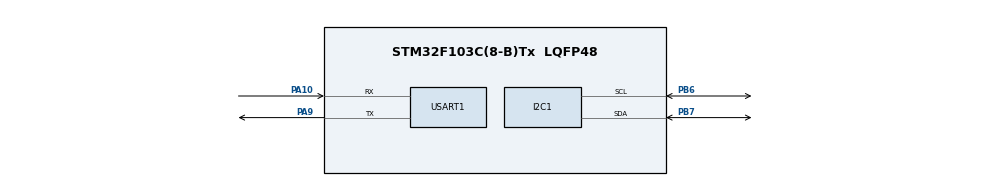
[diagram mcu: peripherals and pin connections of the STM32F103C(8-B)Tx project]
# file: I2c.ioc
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Mcu.Family=STM32F1
Mcu.Name=STM32F103C(8-B)Tx
Mcu.Package=LQFP48
NVIC.PriorityGroup=NVIC_PRIORITYGROUP_4
PA10.Mode=Asynchronous
PA10.Signal=USART1_RX
PA9.Mode=Asynchronous
PA9.Signal=USART1_TX
PB6.Mode=I2C
PB6.Signal=I2C1_SCL
PB7.Mode=I2C
PB7.Signal=I2C1_SDA
ProjectManager.HeapSize=0x200
ProjectManager.StackSize=0x400
ProjectManager.TargetToolchain=STM32CubeIDE
RCC.APB1Freq_Value=8000000
RCC.APB2Freq_Value=8000000
USART1.VirtualMode=VM_ASYNC
VP_SYS_VS_ND.Mode=No_Debug
board=custom

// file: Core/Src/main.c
/* USER CODE BEGIN Header */
/**
  ******************************************************************************
  * @file           : main.c
  * @brief          : Main program body
  ******************************************************************************
  * @attention
  *
  * Copyright (c) 2026 STMicroelectronics.
  * All rights reserved.
  *
  * This software is licensed under terms that can be found in the LICENSE file
  * in the root directory of this software component.
  * If no LICENSE file comes with this software, it is provided AS-IS.
  *
  ******************************************************************************
  */
/* USER CODE END Header */
#include "main.h"

/* USER CODE BEGIN Includes */
#include "stdio.h"
#include "string.h"
/* USER CODE END Includes */

/* USER CODE BEGIN PM */
/* PCF8574 Configuration */

#define PCF8574_ADDR_7BIT    0x3F
#define PCF8574_ADDR         (PCF8574_ADDR_7BIT << 1)

#define PCF8574_INPUT        0xFF

#define DIP1_MASK            (1 << 0)
#define DIP2_MASK            (1 << 1)
#define DIP3_MASK            (1 << 2)
#define DIP4_MASK            (1 << 3)
#define DIP5_MASK            (1 << 4)
#define DIP6_MASK            (1 << 5)
#define DIP7_MASK            (1 << 6)
#define DIP8_MASK            (1 << 7)

uint8_t dip_raw = 0xFF;
uint8_t dip_status = 0x00;

HAL_StatusTypeDef i2c_status;
/* USER CODE END PM */

I2C_HandleTypeDef hi2c1;

UART_HandleTypeDef huart1;

void SystemClock_Config(void);
static void MX_GPIO_Init(void);
static void MX_I2C1_Init(void);
static void MX_USART1_UART_Init(void);
/* USER CODE BEGIN PFP */
HAL_StatusTypeDef PCF8574_Init(void);

HAL_StatusTypeDef PCF8574_Write(uint8_t data);

HAL_StatusTypeDef PCF8574_Read(uint8_t *data);

HAL_StatusTypeDef DIP_Read(uint8_t *data);

void I2C_Scan(void);

void PCF8574_Test(void);
/* USER CODE END PFP */

/* USER CODE BEGIN 0 */
int _write(int fd, char* ptr, int len) {
  HAL_StatusTypeDef hstatus;

  if (fd == 1 || fd == 2) {
	hstatus = HAL_UART_Transmit(&huart1, (uint8_t *) ptr, len, HAL_MAX_DELAY);
	if (hstatus == HAL_OK)
	  return len;
	else
	  return -1;
  }
  return -1;
}

HAL_StatusTypeDef PCF8574_Write(uint8_t data)
{
    return HAL_I2C_Master_Transmit(
        &hi2c1,
        PCF8574_ADDR,
        &data,
        1,
        100
    );
}

/* Initialize DIP switch inputs */
HAL_StatusTypeDef PCF8574_Read(uint8_t *data)
{
    if (data == NULL)
        return HAL_ERROR;

    return HAL_I2C_Master_Receive(
        &hi2c1,
        PCF8574_ADDR,
        data,
        1,
        100
    );
}

// Go through all possible i2c addresses
void I2C_Scan(void)
{
    printf("\r\nI2C SCAN START\r\n");

    for (uint8_t i = 1; i < 128; i++)
    {
        if (HAL_I2C_IsDeviceReady(
                &hi2c1,
                (uint16_t)(i << 1),
                2,
                20) == HAL_OK)
        {
            printf("FOUND: 0x%02X\r\n", i);
        }
    }

    printf("I2C SCAN FINISHED\r\n");
}
HAL_StatusTypeDef PCF8574_Init(void)
{
    /*
     * Write 1 to all pins.
     * Release all GPIO pins for input.
     */

    return PCF8574_Write(PCF8574_INPUT);
}

HAL_StatusTypeDef DIP_Read(uint8_t *data)
{
    HAL_StatusTypeDef status;

    if (data == NULL)
        return HAL_ERROR;

    // Step 1: Release all pins for input
    status = PCF8574_Write(0xFF);

    if (status != HAL_OK)
        return status;

    // Step 2: Read 8-bit data
    status = PCF8574_Read(data);

    return status;
}

void PCF8574_Test(void)
{
    HAL_StatusTypeDef status;

    status = HAL_I2C_IsDeviceReady(
        &hi2c1,
        PCF8574_ADDR,
        3,
        100
    );

    if (status == HAL_OK)
    {
        printf("PCF8574 FOUND!\r\n");
    }
    else
    {
        printf("PCF8574 NOT FOUND!\r\n");
        printf("I2C ERROR: 0x%lX\r\n", hi2c1.ErrorCode);
    }
}

/* USER CODE END 0 */

int main(void)
{
    /* MCU Configuration */

    HAL_Init();

    SystemClock_Config();

    MX_GPIO_Init();

    MX_I2C1_Init();

    MX_USART1_UART_Init();

    /* USER CODE BEGIN 2 */

    printf("\r\n");
    printf("========================\r\n");
    printf("SYSTEM START\r\n");
    printf("========================\r\n");

    // Scan I2C devices
    I2C_Scan();

    HAL_Delay(100);

    // Test PCF8574
    PCF8574_Test();

    HAL_Delay(100);

    // Initialize PCF8574
    if (PCF8574_Init() == HAL_OK)
    {
        printf("PCF8574 INIT SUCCESS!\r\n");
    }
    else
    {
        printf("PCF8574 INIT FAILED!\r\n");
    }

    HAL_Delay(100);

    /* USER CODE END 2 */

    /* Infinite loop */

    while (1)
    {
        /* USER CODE BEGIN 3 */

        i2c_status = DIP_Read(&dip_raw);

        if (i2c_status == HAL_OK)
        {
            // DIP switch ON = 1
            // DIP switch OFF = 0

            dip_status = (uint8_t)(~dip_raw);

            printf("\r\n");

            printf("RAW DATA: 0x%02X\r\n", dip_raw);

            printf("DIP STATUS: 0x%02X\r\n", dip_status);

            printf("DIP1=%d ", (dip_status >> 0) & 1);
            printf("DIP2=%d ", (dip_status >> 1) & 1);
            printf("DIP3=%d ", (dip_status >> 2) & 1);
            printf("DIP4=%d ", (dip_status >> 3) & 1);

            printf("DIP5=%d ", (dip_status >> 4) & 1);
            printf("DIP6=%d ", (dip_status >> 5) & 1);
            printf("DIP7=%d ", (dip_status >> 6) & 1);
            printf("DIP8=%d\r\n", (dip_status >> 7) & 1);
        }
        else
        {
            printf("I2C READ ERROR: 0x%lX\r\n",
                   hi2c1.ErrorCode);
        }

        HAL_Delay(500);

        /* USER CODE END 3 */
    }
}

void SystemClock_Config(void)
{
  RCC_OscInitTypeDef RCC_OscInitStruct = {0};
  RCC_ClkInitTypeDef RCC_ClkInitStruct = {0};

  /** Initializes the RCC Oscillators according to the specified parameters
  * in the RCC_OscInitTypeDef structure.
  */
  RCC_OscInitStruct.OscillatorType = RCC_OSCILLATORTYPE_HSI;
  RCC_OscInitStruct.HSIState = RCC_HSI_ON;
  RCC_OscInitStruct.HSICalibrationValue = RCC_HSICALIBRATION_DEFAULT;
  RCC_OscInitStruct.PLL.PLLState = RCC_PLL_NONE;
  if (HAL_RCC_OscConfig(&RCC_OscInitStruct) != HAL_OK)
  {
    Error_Handler();
  }

  /** Initializes the CPU, AHB and APB buses clocks
  */
  RCC_ClkInitStruct.ClockType = RCC_CLOCKTYPE_HCLK|RCC_CLOCKTYPE_SYSCLK
                              |RCC_CLOCKTYPE_PCLK1|RCC_CLOCKTYPE_PCLK2;
  RCC_ClkInitStruct.SYSCLKSource = RCC_SYSCLKSOURCE_HSI;
  RCC_ClkInitStruct.AHBCLKDivider = RCC_SYSCLK_DIV1;
  RCC_ClkInitStruct.APB1CLKDivider = RCC_HCLK_DIV1;
  RCC_ClkInitStruct.APB2CLKDivider = RCC_HCLK_DIV1;

  if (HAL_RCC_ClockConfig(&RCC_ClkInitStruct, FLASH_LATENCY_0) != HAL_OK)
  {
    Error_Handler();
  }
}

static void MX_I2C1_Init(void)
{

  hi2c1.Instance = I2C1;
  hi2c1.Init.ClockSpeed = 100000;
  hi2c1.Init.DutyCycle = I2C_DUTYCYCLE_2;
  hi2c1.Init.OwnAddress1 = 0;
  hi2c1.Init.AddressingMode = I2C_ADDRESSINGMODE_7BIT;
  hi2c1.Init.DualAddressMode = I2C_DUALADDRESS_DISABLE;
  hi2c1.Init.OwnAddress2 = 0;
  hi2c1.Init.GeneralCallMode = I2C_GENERALCALL_DISABLE;
  hi2c1.Init.NoStretchMode = I2C_NOSTRETCH_DISABLE;
  if (HAL_I2C_Init(&hi2c1) != HAL_OK)
  {
    Error_Handler();
  }

}

static void MX_USART1_UART_Init(void)
{

  huart1.Instance = USART1;
  huart1.Init.BaudRate = 115200;
  huart1.Init.WordLength = UART_WORDLENGTH_8B;
  huart1.Init.StopBits = UART_STOPBITS_1;
  huart1.Init.Parity = UART_PARITY_NONE;
  huart1.Init.Mode = UART_MODE_TX_RX;
  huart1.Init.HwFlowCtl = UART_HWCONTROL_NONE;
  huart1.Init.OverSampling = UART_OVERSAMPLING_16;
  if (HAL_UART_Init(&huart1) != HAL_OK)
  {
    Error_Handler();
  }

}

static void MX_GPIO_Init(void)
{

  /* GPIO Ports Clock Enable */
  __HAL_RCC_GPIOA_CLK_ENABLE();
  __HAL_RCC_GPIOB_CLK_ENABLE();

}

void Error_Handler(void)
{
  __disable_irq();
  while (1)
  {
  }
}
